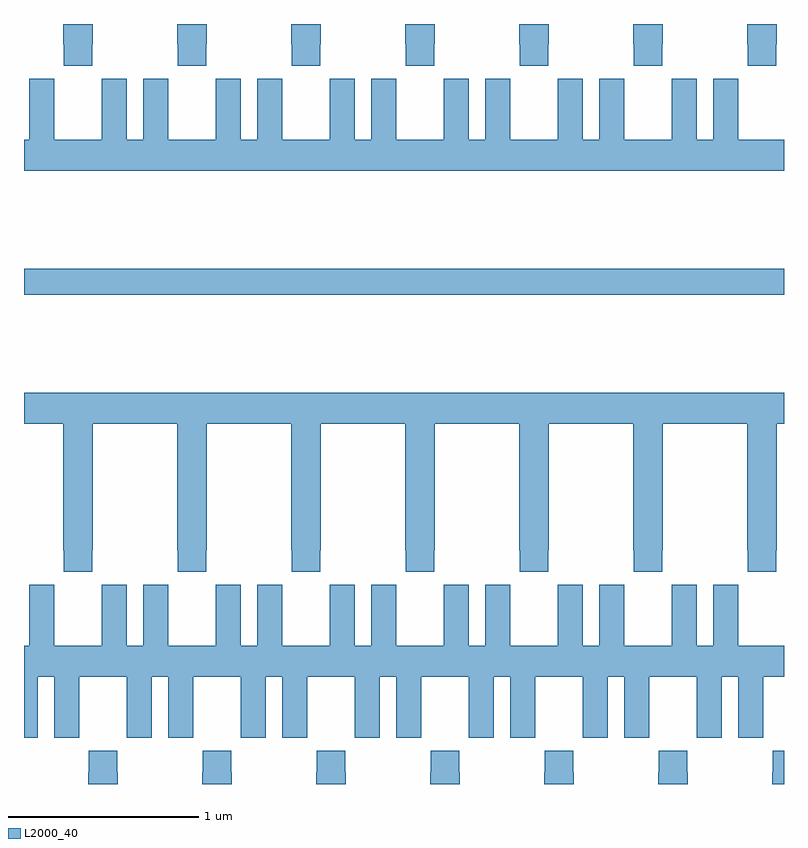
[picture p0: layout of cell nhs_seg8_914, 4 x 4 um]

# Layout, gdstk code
import gdstk
lib = gdstk.Library(unit=1e-6, precision=1e-09)
def R(c, l, rs):  # rectangles x0, y0, x1, y1
    for r in rs: c.add(gdstk.rectangle(r[:2], r[2:], *l))
def P(c, l, *ps):  # polygons
    for p in ps: c.add(gdstk.Polygon(p, *l))
L2000_40 = (2000, 40)

nhs_seg8_914 = lib.new_cell('nhs_seg8_914')
R(nhs_seg8_914, L2000_40, [(169,1154.476,173,1154.612)])
P(nhs_seg8_914, L2000_40, [(169.207,1155.793),(169.209,1155.793),(169.209,1155.681),(169.359,1155.681),(169.359,1155.793),(169.362,1155.793),(169.362,1155.9),(169.207,1155.9)],
  [(172.807,1155.793),(172.809,1155.793),(172.809,1155.681),(172.959,1155.681),(172.959,1155.793),(172.962,1155.793),(172.962,1155.9),(172.807,1155.9)],
  [(169.959,1155.793),(169.962,1155.793),(169.962,1155.9),(169.807,1155.9),(169.807,1155.793),(169.809,1155.793),(169.809,1155.681),(169.959,1155.681)],
  [(170.559,1155.793),(170.562,1155.793),(170.562,1155.9),(170.407,1155.9),(170.407,1155.793),(170.409,1155.793),(170.409,1155.681),(170.559,1155.681)],
  [(171.159,1155.793),(171.162,1155.793),(171.162,1155.9),(171.007,1155.9),(171.007,1155.793),(171.009,1155.793),(171.009,1155.681),(171.159,1155.681)],
  [(171.759,1155.793),(171.762,1155.793),(171.762,1155.9),(171.607,1155.9),(171.607,1155.793),(171.609,1155.793),(171.609,1155.681),(171.759,1155.681)],
  [(172.359,1155.793),(172.362,1155.793),(172.362,1155.9),(172.207,1155.9),(172.207,1155.793),(172.209,1155.793),(172.209,1155.681),(172.359,1155.681)],
  [(173,1155.292),(172.759,1155.292),(172.759,1155.5),(172.758,1155.5),(172.758,1155.613),(172.628,1155.613),(172.628,1155.292),(172.54,1155.292),(172.54,1155.613),(172.41,1155.613),(172.41,1155.5),(172.409,1155.5),(172.409,1155.292),(172.159,1155.292),(172.159,1155.5),(172.158,1155.5),(172.158,1155.613),(172.028,1155.613),(172.028,1155.292),(171.94,1155.292),(171.94,1155.613),(171.81,1155.613),(171.81,1155.5),(171.809,1155.5),(171.809,1155.292),(171.559,1155.292),(171.559,1155.5),(171.558,1155.5),(171.558,1155.613),(171.428,1155.613),(171.428,1155.292),(171.34,1155.292),(171.34,1155.613),(171.21,1155.613),(171.21,1155.5),(171.209,1155.5),(171.209,1155.292),(170.959,1155.292),(170.959,1155.5),(170.958,1155.5),(170.958,1155.613),(170.828,1155.613),(170.828,1155.292),(170.74,1155.292),(170.74,1155.613),(170.61,1155.613),(170.61,1155.5),(170.609,1155.5),(170.609,1155.292),(170.359,1155.292),(170.359,1155.5),(170.358,1155.5),(170.358,1155.613),(170.228,1155.613),(170.228,1155.292),(170.14,1155.292),(170.14,1155.613),(170.01,1155.613),(170.01,1155.5),(170.009,1155.5),(170.009,1155.292),(169.759,1155.292),(169.759,1155.5),(169.758,1155.5),(169.758,1155.613),(169.628,1155.613),(169.628,1155.292),(169.54,1155.292),(169.54,1155.613),(169.41,1155.613),(169.41,1155.5),(169.409,1155.5),(169.409,1155.292),(169.159,1155.292),(169.159,1155.5),(169.158,1155.5),(169.158,1155.613),(169.028,1155.613),(169.028,1155.292),(169,1155.292),(169,1155.128),(173,1155.128)],
  [(169,1153.796),(169.207,1153.796),(169.207,1153.129),(169.209,1153.129),(169.209,1153.017),(169.359,1153.017),(169.359,1153.129),(169.362,1153.129),(169.362,1153.796),(169.807,1153.796),(169.807,1153.129),(169.809,1153.129),(169.809,1153.017),(169.959,1153.017),(169.959,1153.129),(169.962,1153.129),(169.962,1153.796),(170.407,1153.796),(170.407,1153.129),(170.409,1153.129),(170.409,1153.017),(170.559,1153.017),(170.559,1153.129),(170.562,1153.129),(170.562,1153.796),(171.007,1153.796),(171.007,1153.129),(171.009,1153.129),(171.009,1153.017),(171.159,1153.017),(171.159,1153.129),(171.162,1153.129),(171.162,1153.796),(171.607,1153.796),(171.607,1153.129),(171.609,1153.129),(171.609,1153.017),(171.759,1153.017),(171.759,1153.129),(171.762,1153.129),(171.762,1153.796),(172.207,1153.796),(172.207,1153.129),(172.209,1153.129),(172.209,1153.017),(172.359,1153.017),(172.359,1153.129),(172.362,1153.129),(172.362,1153.796),(172.807,1153.796),(172.807,1153.129),(172.809,1153.129),(172.809,1153.017),(172.959,1153.017),(172.959,1153.129),(172.962,1153.129),(172.962,1153.796),(173,1153.796),(173,1153.96),(169,1153.96)],
  [(171.559,1152.836),(171.558,1152.836),(171.558,1152.949),(171.428,1152.949),(171.428,1152.628),(171.34,1152.628),(171.34,1152.949),(171.21,1152.949),(171.21,1152.836),(171.209,1152.836),(171.209,1152.628),(170.959,1152.628),(170.959,1152.836),(170.958,1152.836),(170.958,1152.949),(170.828,1152.949),(170.828,1152.628),(170.74,1152.628),(170.74,1152.949),(170.61,1152.949),(170.61,1152.836),(170.609,1152.836),(170.609,1152.628),(170.359,1152.628),(170.359,1152.836),(170.358,1152.836),(170.358,1152.949),(170.228,1152.949),(170.228,1152.628),(170.14,1152.628),(170.14,1152.949),(170.01,1152.949),(170.01,1152.836),(170.009,1152.836),(170.009,1152.628),(169.759,1152.628),(169.759,1152.836),(169.758,1152.836),(169.758,1152.949),(169.628,1152.949),(169.628,1152.628),(169.54,1152.628),(169.54,1152.949),(169.41,1152.949),(169.41,1152.836),(169.409,1152.836),(169.409,1152.628),(169.159,1152.628),(169.159,1152.836),(169.158,1152.836),(169.158,1152.949),(169.028,1152.949),(169.028,1152.628),(169,1152.628),(169,1152.144),(169.072,1152.144),(169.072,1152.464),(169.16,1152.464),(169.16,1152.144),(169.29,1152.144),(169.29,1152.256),(169.291,1152.256),(169.291,1152.464),(169.541,1152.464),(169.541,1152.256),(169.542,1152.256),(169.542,1152.144),(169.672,1152.144),(169.672,1152.464),(169.76,1152.464),(169.76,1152.144),(169.89,1152.144),(169.89,1152.256),(169.891,1152.256),(169.891,1152.464),(170.141,1152.464),(170.141,1152.256),(170.142,1152.256),(170.142,1152.144),(170.272,1152.144),(170.272,1152.464),(170.36,1152.464),(170.36,1152.144),(170.49,1152.144),(170.49,1152.256),(170.491,1152.256),(170.491,1152.464),(170.741,1152.464),(170.741,1152.256),(170.742,1152.256),(170.742,1152.144),(170.872,1152.144),(170.872,1152.464),(170.96,1152.464),(170.96,1152.144),(171.09,1152.144),(171.09,1152.256),(171.091,1152.256),(171.091,1152.464),(171.341,1152.464),(171.341,1152.256),(171.342,1152.256),(171.342,1152.144),(171.472,1152.144),(171.472,1152.464),(171.56,1152.464),(171.56,1152.144),(171.69,1152.144),(171.69,1152.256),(171.691,1152.256),(171.691,1152.464),(171.941,1152.464),(171.941,1152.256),(171.942,1152.256),(171.942,1152.144),(172.072,1152.144),(172.072,1152.464),(172.16,1152.464),(172.16,1152.144),(172.29,1152.144),(172.29,1152.256),(172.291,1152.256),(172.291,1152.464),(172.541,1152.464),(172.541,1152.256),(172.542,1152.256),(172.542,1152.144),(172.672,1152.144),(172.672,1152.464),(172.76,1152.464),(172.76,1152.144),(172.89,1152.144),(172.89,1152.256),(172.891,1152.256),(172.891,1152.464),(173,1152.464),(173,1152.628),(172.759,1152.628),(172.759,1152.836),(172.758,1152.836),(172.758,1152.949),(172.628,1152.949),(172.628,1152.628),(172.54,1152.628),(172.54,1152.949),(172.41,1152.949),(172.41,1152.836),(172.409,1152.836),(172.409,1152.628),(172.159,1152.628),(172.159,1152.836),(172.158,1152.836),(172.158,1152.949),(172.028,1152.949),(172.028,1152.628),(171.94,1152.628),(171.94,1152.949),(171.81,1152.949),(171.81,1152.836),(171.809,1152.836),(171.809,1152.628),(171.559,1152.628)],
  [(172.941,1151.963),(172.939,1151.963),(172.939,1151.9),(173,1151.9),(173,1152.076),(172.941,1152.076)],
  [(172.494,1151.963),(172.491,1151.963),(172.491,1152.076),(172.341,1152.076),(172.341,1151.963),(172.339,1151.963),(172.339,1151.9),(172.494,1151.9)],
  [(171.894,1151.963),(171.891,1151.963),(171.891,1152.076),(171.741,1152.076),(171.741,1151.963),(171.739,1151.963),(171.739,1151.9),(171.894,1151.9)],
  [(171.294,1151.963),(171.291,1151.963),(171.291,1152.076),(171.141,1152.076),(171.141,1151.963),(171.139,1151.963),(171.139,1151.9),(171.294,1151.9)],
  [(170.694,1151.963),(170.691,1151.963),(170.691,1152.076),(170.541,1152.076),(170.541,1151.963),(170.539,1151.963),(170.539,1151.9),(170.694,1151.9)],
  [(170.094,1151.963),(170.091,1151.963),(170.091,1152.076),(169.941,1152.076),(169.941,1151.963),(169.939,1151.963),(169.939,1151.9),(170.094,1151.9)],
  [(169.494,1151.963),(169.491,1151.963),(169.491,1152.076),(169.341,1152.076),(169.341,1151.963),(169.339,1151.963),(169.339,1151.9),(169.494,1151.9)])

lib.write_gds('nhs_seg8_914.gds')
